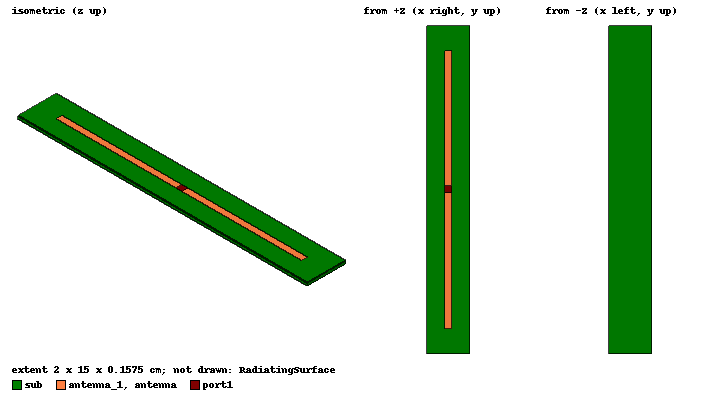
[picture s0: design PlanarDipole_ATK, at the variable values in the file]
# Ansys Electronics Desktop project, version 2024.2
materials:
  vacuum: permittivity=1
  Rogers TMM 4 (tm): permittivity=4.5 dielectric_loss_tangent=0.002

design PlanarDipole_ATK (HFSS, HFSS Hybrid Terminal Network, model units cm)
options: Allow_Material_Override Save_Adaptive_support_files open_region{BoundaryType=0 OpFreq=0.915GHz}
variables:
  # --Antenna Dimensions
  dipole_length = 12.7307976cm
  Antenna_Width = 0.30464cm
  Port_Gap_Width = 0.32cm
  # --Substrate Dimensions
  subH = 0.1575cm
  subX = 2cm
  subY = 15cm
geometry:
  sub [Rogers TMM 4 (tm)] = box(corner=(-subX/2, -subY/2, 0cm), size=(subX, subY, -subH))
  antenna = rectangle(corner=(-Antenna_Width/2, Port_Gap_Width/2, 0cm), x_size=Antenna_Width, y_size=dipole_length/2-Port_Gap_Width/2)
  antenna_1 = antenna.duplicate_around_axis(axis=Z, angle=180deg, total=2)
  port1 = rectangle(corner=(-Antenna_Width/2, -Port_Gap_Width/2, 0cm), x_size=Antenna_Width, y_size=Port_Gap_Width)
  RadiatingSurface [vacuum] = region(absolute_offset=10.928962cm on all sides)
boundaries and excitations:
  antennaMetal: Perfect E Objects=[antenna, antenna_1]
  AutoOpen1: Radiation Objects=RadiatingSurface
  antenna_1_T1: Terminal port=1 Edges=antenna_1.edge(at (0, -0.16, 0)) TerminalResistance=50ohm
  1: Lumped Port Faces=port1.face LumpedPortType=Terminal Impedance=50ohm
  reference conductors: antenna
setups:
  ATK_Solution: HfssDriven Frequency=0.915GHz MaxDeltaS=0.02 MaximumPasses=15 MinimumPasses=1 MinimumConvergedPasses=1 PercentRefinement=30 BasisOrder=1 PortAccuracy=2 DrivenSolverType="Direct Solver" VariablesForDerivatives(Antenna_Width, dipole_length, Port_Gap_Width, subH, subX, subY) VariableFlagsForDerivatives(1, 1, 1, 1, 1, 1) IESolverType=ACA
    sweep FF_Sweep: 0.4575GHz to 1.3725GHz, 401 points; Type=Interpolating InterpTolerance=0.5 InterpMaxSolns=250 PassivityErrorTolerance=0.0001
    sweep SParam_Sweep: 0.4575GHz to 1.3725GHz, 100 points; Type=Interpolating InterpTolerance=0.5 InterpMaxSolns=250 PassivityErrorTolerance=0.0001
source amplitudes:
  1:1: 1V 0deg
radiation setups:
  3D: Infinite Sphere Theta=0deg..180deg step 2deg Phi=-180deg..180deg step 2deg
  Elevation: Infinite Sphere Theta=-180deg..180deg step 1deg Phi=0deg..90deg step 90deg
  Azimuth: Infinite Sphere Theta=90deg..90deg step 0deg Phi=-180deg..180deg step 1deg
  ATK_2D: Infinite Sphere Theta=-180deg..180deg step 1deg Phi=0deg..90deg step 90deg
  ATK_3D: Infinite Sphere Theta=-180deg..180deg step 2deg Phi=0deg..180deg step 5deg
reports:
  ff_3D_GainTotal: dB(GainTotal) vs Phi, Theta on ATK_Solution : LastAdaptive, ATK_3D [Freq=9.15e+08]
  ff_2D_GainTotal: dB(GainTotal) vs Theta on ATK_Solution : LastAdaptive, ATK_2D [Phi=all Freq=9.15e+08]
  Return Loss: dB(St11) vs Freq on ATK_Solution : SParam_Sweep; markers MX1 at x=9.15e+08
  Input Impedance: St11 on ATK_Solution : SParam_Sweep [Freq=all]
  Tune Terminal S Parameter Plot 1: dB(TuneSt(antenna_1_T1,antenna_1_T1,All)) vs Freq on ATK_Solution : FF_Sweep; markers MX1 at x=9.15e+08
